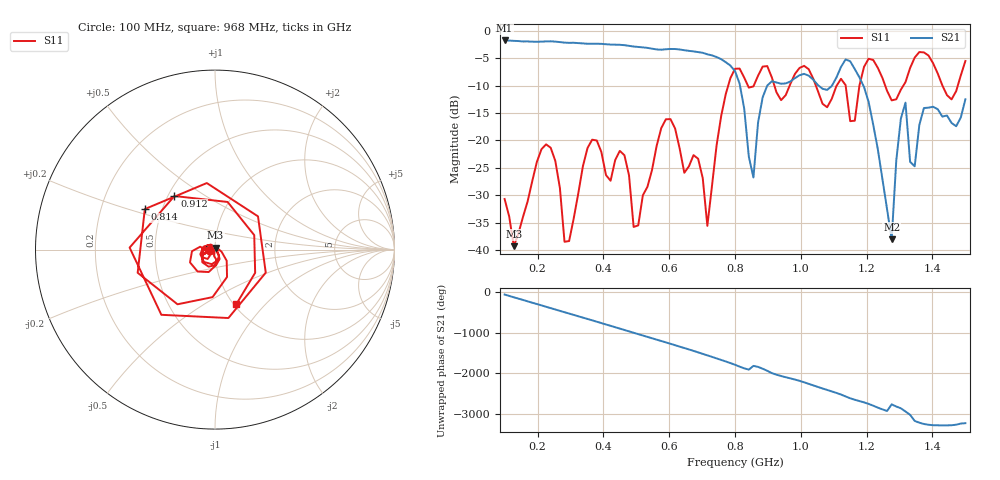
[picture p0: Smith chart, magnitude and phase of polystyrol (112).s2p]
! NanoVNA-App
! Date: 2025-09-26 09:42:45
! Start: 100MHz Stop: 1,5GHz Points: 101
! S-Parameter data: F S11 S21 S12 S22
# Hz S RI R 50
!  Frequency  S11_Real  S11_Imag  S21_Real  S21_Imag  S12_Real  S12_Imag  S22_Real  S22_Imag
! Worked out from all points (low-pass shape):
!   101 points, 100 MHz to 1.5 GHz, reference 50 ohm
!   highest |S21| = -1.79 dB at 100 MHz (marker M1); lowest = -38.0 dB at 1.276 GHz (marker M2)
!   |S21| within 3 dB of the highest: start of sweep to 743.4 MHz
!   lowest |S11| = -39.2 dB at 128 MHz (marker M3), VSWR 1.02, Z = 50.3 + j1.06 ohm
!   |S11| at or under -10 dB: start of sweep to 779.4 MHz; 1.046 GHz to 1.109 GHz (63.47 MHz wide, 5.89 % of centre); 1.256 GHz to 1.312 GHz (55.32 MHz wide, 4.31 % of centre) (the widest 3 of 7)
!   S12 and S22 are empty: the file has one direction only
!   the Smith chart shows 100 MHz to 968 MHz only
!   S11 on the Smith chart (normalised r, x): 100 MHz: 0.94, -0.01; 814 MHz: 0.40, +0.23; 912 MHz: 0.54, +0.37; 968 MHz: 1.03, -0.70
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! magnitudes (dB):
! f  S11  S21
! 100 MHz  -30.7  -1.8
! 128 MHz  -39.2  -1.9
! 212 MHz  -21.6  -2.0
! 282 MHz  -38.4  -2.2
! 338 MHz  -24.7  -2.3
! 464 MHz  -22.7  -2.6
! 506 MHz  -35.5  -3.0
! 576 MHz  -17.7  -3.5
! 688 MHz  -23.3  -3.9
! 716 MHz  -35.5  -4.3
! 800 MHz  -6.9  -7.4
! 814 MHz  -6.9  -9.6
! 856 MHz  -10.2  -26.7
! 912 MHz  -8.5  -9.2
! 968 MHz  -9.7  -9.3
! 1.038 GHz  -8.8  -8.9
! 1.178 GHz  -10.0  -8.5
! 1.276 GHz  -12.7  -38.0
! 1.318 GHz  -9.4  -13.1
! 1.346 GHz  -4.9  -24.7
! 1.374 GHz  -4.0  -14.1
! 1.5 GHz  -5.5  -12.5
